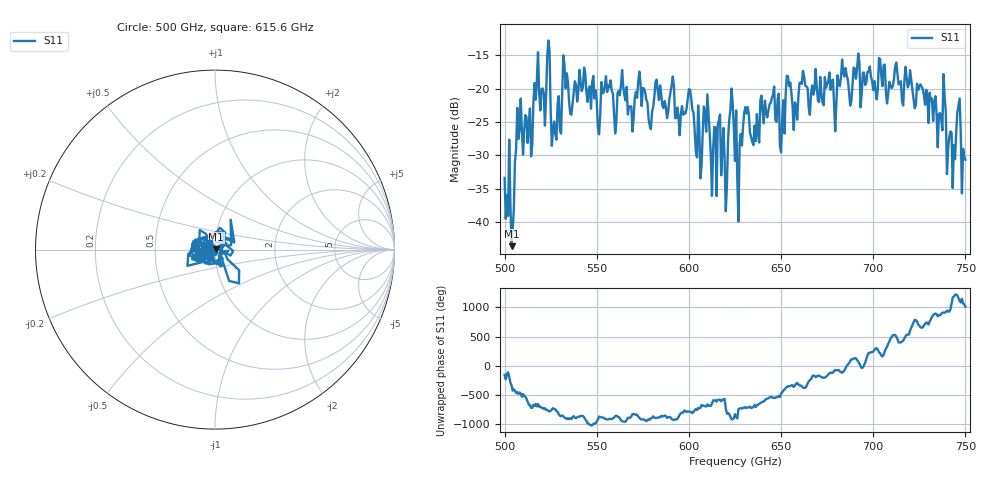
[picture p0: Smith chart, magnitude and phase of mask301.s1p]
!Created with skrf (http://scikit-rf.org).
# GHz S MA R 50.0
!freq magS11 angS11
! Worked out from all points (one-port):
!   401 points, 500 GHz to 750 GHz, reference 50 ohm
!   lowest |S11| = -43.7 dB at 503.8 GHz (marker M1), VSWR 1.01, Z = 50.6 + j0.265 ohm
!   |S11| at or under -10 dB: start of sweep to end of sweep
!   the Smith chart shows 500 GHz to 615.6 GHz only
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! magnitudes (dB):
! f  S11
! 500 GHz  -33.4
! 503.8 GHz  -43.7
! 507.5 GHz  -27.6
! 513.8 GHz  -23.0
! 516.9 GHz  -21.7
! 523.8 GHz  -12.8
! 526.9 GHz  -24.9
! 531.2 GHz  -20.6
! 562.5 GHz  -21.0
! 579.4 GHz  -26.1
! 590.6 GHz  -19.5
! 593.8 GHz  -22.8
! 600.6 GHz  -20.2
! 605.6 GHz  -26.0
! 609.4 GHz  -26.5
! 619.4 GHz  -30.7
! 622.5 GHz  -23.2
! 625 GHz  -30.8
! 627.5 GHz  -28.3
! 631.2 GHz  -23.7
! 635 GHz  -28.5
! 656.2 GHz  -22.8
! 687.5 GHz  -22.5
! 718.8 GHz  -19.8
! 738.1 GHz  -17.8
! 743.1 GHz  -34.9
! 746.2 GHz  -22.5
! 750 GHz  -30.7
